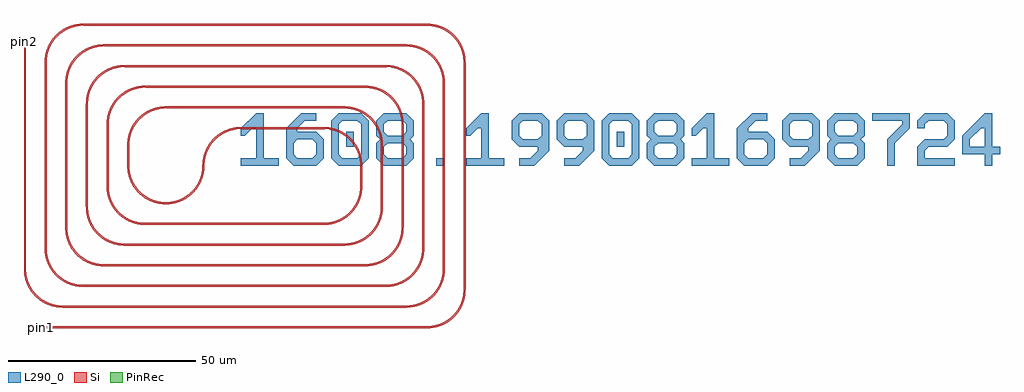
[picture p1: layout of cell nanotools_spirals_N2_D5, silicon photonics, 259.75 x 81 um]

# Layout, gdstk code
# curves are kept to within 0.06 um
import gdstk
lib = gdstk.Library(unit=1e-6, precision=1e-09)
def R(c, l, rs):  # rectangles x0, y0, x1, y1
    for r in rs: c.add(gdstk.rectangle(r[:2], r[2:], *l))
def P(c, l, *ps):  # polygons
    for p in ps: c.add(gdstk.Polygon(p, *l))
Si = (1, 0)
PinRec = (1, 10)
L290_0 = (290, 0)

nanotools_spirals_n2_d5 = lib.new_cell('nanotools_spirals_N2_D5')
R(nanotools_spirals_n2_d5, Si, [(-53,-43.25,49.5,-42.75), (-47.5,-37.75,44,-37.25), (59.25,-33,59.75,27.5), (-42,-32.25,38.5,-31.75), (-57.75,-27.5,-57.25,33), (53.75,-27.5,54.25,22), (-36.5,-26.75,33,-26.25), (-52.25,-22,-51.75,27.5), (48.25,-22,48.75,16.5), (-31,-21.25,27.5,-20.75), (-46.75,-16.5,-46.25,22), (42.75,-16.5,43.25,11), (-25.5,-15.75,22,-15.25), (-41.25,-11,-40.75,16.5), (37.25,-11,37.75,5.5), (-35.75,-5.5,-35.25,11), (31.75,-5.5,32.25,0), (-30.25,0,-29.75,5.5), (0,9.75,22,10.25), (-20,15.25,27.5,15.75), (-25.5,20.75,33,21.25), (-31,26.25,38.5,26.75), (-36.5,31.75,44,32.25), (-42,37.25,49.5,37.75)])
P(nanotools_spirals_n2_d5, Si, [(-10.25,0),(-10.056,1.984),(-9.482,3.894),(-8.548,5.656),(-7.292,7.204),(-6.557,7.879),(-5.759,8.479),(-4.009,9.434),(-3.072,9.779),(-2.107,10.031),(-1.121,10.189),(0,10.25),(0,9.75),(-1.066,9.692),(-2.12,9.517),(-3.148,9.228),(-4.246,8.777),(-5.673,7.93),(-6.852,6.936),(-7.93,5.673),(-8.777,4.246),(-9.228,3.148),(-9.517,2.12),(-9.692,1.066),(-9.75,0)],
  [(-20,-10.25),(-20,-9.75),(-18.934,-9.692),(-17.88,-9.517),(-16.852,-9.228),(-15.754,-8.777),(-14.327,-7.93),(-13.148,-6.936),(-12.07,-5.673),(-11.223,-4.246),(-10.772,-3.148),(-10.483,-2.12),(-10.308,-1.066),(-10.25,0),(-9.75,0),(-9.944,-1.984),(-10.518,-3.894),(-11.452,-5.656),(-12.708,-7.204),(-13.443,-7.879),(-14.241,-8.479),(-15.991,-9.434),(-16.928,-9.779),(-17.893,-10.031),(-18.879,-10.189)],
  [(22,-15.75),(22,-15.25),(23.066,-15.192),(24.12,-15.017),(25.148,-14.728),(26.246,-14.277),(27.673,-13.43),(28.852,-12.436),(29.93,-11.173),(30.777,-9.746),(31.228,-8.648),(31.517,-7.62),(31.692,-6.566),(31.75,-5.5),(32.25,-5.5),(32.056,-7.484),(31.482,-9.394),(30.548,-11.156),(29.292,-12.704),(28.557,-13.379),(27.759,-13.979),(26.009,-14.934),(25.072,-15.279),(24.107,-15.531),(23.121,-15.689)],
  [(27.5,-21.25),(27.5,-20.75),(28.566,-20.692),(29.62,-20.517),(30.648,-20.228),(31.746,-19.777),(33.173,-18.93),(34.352,-17.936),(35.43,-16.673),(36.277,-15.246),(36.728,-14.148),(37.017,-13.12),(37.192,-12.066),(37.25,-11),(37.75,-11),(37.556,-12.984),(36.982,-14.894),(36.048,-16.656),(34.792,-18.204),(34.057,-18.879),(33.259,-19.479),(31.509,-20.434),(30.572,-20.779),(29.607,-21.031),(28.621,-21.189)],
  [(33,-26.75),(33,-26.25),(34.066,-26.192),(35.12,-26.017),(36.148,-25.728),(37.246,-25.277),(38.673,-24.43),(39.852,-23.436),(40.93,-22.173),(41.777,-20.746),(42.228,-19.648),(42.517,-18.62),(42.692,-17.566),(42.75,-16.5),(43.25,-16.5),(43.056,-18.484),(42.482,-20.394),(41.548,-22.156),(40.292,-23.704),(39.557,-24.379),(38.759,-24.979),(37.009,-25.934),(36.072,-26.279),(35.107,-26.531),(34.121,-26.689)],
  [(38.5,-32.25),(38.5,-31.75),(39.566,-31.692),(40.62,-31.517),(41.648,-31.228),(42.746,-30.777),(44.173,-29.93),(45.352,-28.936),(46.43,-27.673),(47.277,-26.246),(47.728,-25.148),(48.017,-24.12),(48.192,-23.066),(48.25,-22),(48.75,-22),(48.556,-23.984),(47.982,-25.894),(47.048,-27.656),(45.792,-29.204),(45.057,-29.879),(44.259,-30.479),(42.509,-31.434),(41.572,-31.779),(40.607,-32.031),(39.621,-32.189)],
  [(44,-37.75),(44,-37.25),(45.066,-37.192),(46.12,-37.017),(47.148,-36.728),(48.246,-36.277),(49.673,-35.43),(50.852,-34.436),(51.93,-33.173),(52.777,-31.746),(53.228,-30.648),(53.517,-29.62),(53.692,-28.566),(53.75,-27.5),(54.25,-27.5),(54.056,-29.484),(53.482,-31.394),(52.548,-33.156),(51.292,-34.704),(50.557,-35.379),(49.759,-35.979),(48.009,-36.934),(47.072,-37.279),(46.107,-37.531),(45.121,-37.689)],
  [(49.5,-43.25),(49.5,-42.75),(50.566,-42.692),(51.62,-42.517),(52.648,-42.228),(53.746,-41.777),(55.173,-40.93),(56.352,-39.936),(57.43,-38.673),(58.277,-37.246),(58.728,-36.148),(59.017,-35.12),(59.192,-34.066),(59.25,-33),(59.75,-33),(59.556,-34.984),(58.982,-36.894),(58.048,-38.656),(56.792,-40.204),(56.057,-40.879),(55.259,-41.479),(53.509,-42.434),(52.572,-42.779),(51.607,-43.031),(50.621,-43.189)],
  [(31.75,0),(31.566,1.888),(31.064,3.594),(30.26,5.18),(29.101,6.681),(27.865,7.789),(26.352,8.725),(25.26,9.189),(24.236,9.49),(23.066,9.692),(22,9.75),(22,10.25),(23.121,10.189),(24.107,10.031),(25.072,9.779),(26.009,9.434),(27.017,8.939),(27.862,8.408),(28.747,7.717),(29.465,7.024),(30.189,6.165),(30.814,5.233),(31.333,4.237),(31.741,3.191),(32.122,1.616),(32.25,0)],
  [(37.25,5.5),(37.066,7.388),(36.564,9.094),(35.76,10.68),(34.601,12.181),(33.365,13.289),(31.852,14.225),(30.76,14.689),(29.736,14.99),(28.566,15.192),(27.5,15.25),(27.5,15.75),(28.621,15.689),(29.607,15.531),(30.572,15.279),(31.509,14.934),(32.517,14.439),(33.362,13.908),(34.247,13.217),(34.965,12.524),(35.689,11.665),(36.314,10.733),(36.833,9.737),(37.241,8.691),(37.622,7.116),(37.75,5.5)],
  [(42.75,11),(42.566,12.888),(42.064,14.594),(41.26,16.18),(40.101,17.681),(38.865,18.789),(37.352,19.725),(36.26,20.189),(35.236,20.49),(34.066,20.692),(33,20.75),(33,21.25),(34.121,21.189),(35.107,21.031),(36.072,20.779),(37.009,20.434),(38.017,19.939),(38.862,19.408),(39.747,18.717),(40.465,18.024),(41.189,17.165),(41.814,16.233),(42.333,15.237),(42.741,14.191),(43.122,12.616),(43.25,11)],
  [(48.25,16.5),(48.066,18.388),(47.564,20.094),(46.76,21.68),(45.601,23.181),(44.365,24.289),(42.852,25.225),(41.76,25.689),(40.736,25.99),(39.566,26.192),(38.5,26.25),(38.5,26.75),(39.621,26.689),(40.607,26.531),(41.572,26.279),(42.509,25.934),(43.517,25.439),(44.362,24.908),(45.247,24.217),(45.965,23.524),(46.689,22.665),(47.314,21.733),(47.833,20.737),(48.241,19.691),(48.622,18.116),(48.75,16.5)],
  [(53.75,22),(53.566,23.888),(53.064,25.594),(52.26,27.18),(51.101,28.681),(49.865,29.789),(48.352,30.725),(47.26,31.189),(46.236,31.49),(45.066,31.692),(44,31.75),(44,32.25),(45.121,32.189),(46.107,32.031),(47.072,31.779),(48.009,31.434),(49.017,30.939),(49.862,30.408),(50.747,29.717),(51.465,29.024),(52.189,28.165),(52.814,27.233),(53.333,26.237),(53.741,25.191),(54.122,23.616),(54.25,22)],
  [(59.25,27.5),(59.066,29.388),(58.564,31.094),(57.76,32.68),(56.601,34.181),(55.365,35.289),(53.852,36.225),(52.76,36.689),(51.736,36.99),(50.566,37.192),(49.5,37.25),(49.5,37.75),(50.621,37.689),(51.607,37.531),(52.572,37.279),(53.509,36.934),(54.517,36.439),(55.362,35.908),(56.247,35.217),(56.965,34.524),(57.689,33.665),(58.314,32.733),(58.833,31.737),(59.241,30.691),(59.622,29.116),(59.75,27.5)],
  [(-30.25,5.5),(-30.056,7.484),(-29.482,9.394),(-28.548,11.156),(-27.292,12.704),(-26.557,13.379),(-25.759,13.979),(-24.009,14.934),(-23.072,15.279),(-22.107,15.531),(-21.121,15.689),(-20,15.75),(-20,15.25),(-21.066,15.192),(-22.12,15.017),(-23.148,14.728),(-24.246,14.277),(-25.673,13.43),(-26.852,12.436),(-27.93,11.173),(-28.777,9.746),(-29.228,8.648),(-29.517,7.62),(-29.692,6.566),(-29.75,5.5)],
  [(-35.75,11),(-35.556,12.984),(-34.982,14.894),(-34.048,16.656),(-32.792,18.204),(-32.057,18.879),(-31.259,19.479),(-29.509,20.434),(-28.572,20.779),(-27.607,21.031),(-26.621,21.189),(-25.5,21.25),(-25.5,20.75),(-26.566,20.692),(-27.62,20.517),(-28.648,20.228),(-29.746,19.777),(-31.173,18.93),(-32.352,17.936),(-33.43,16.673),(-34.277,15.246),(-34.728,14.148),(-35.017,13.12),(-35.192,12.066),(-35.25,11)],
  [(-41.25,16.5),(-41.056,18.484),(-40.482,20.394),(-39.548,22.156),(-38.292,23.704),(-37.557,24.379),(-36.759,24.979),(-35.009,25.934),(-34.072,26.279),(-33.107,26.531),(-32.121,26.689),(-31,26.75),(-31,26.25),(-32.066,26.192),(-33.12,26.017),(-34.148,25.728),(-35.246,25.277),(-36.673,24.43),(-37.852,23.436),(-38.93,22.173),(-39.777,20.746),(-40.228,19.648),(-40.517,18.62),(-40.692,17.566),(-40.75,16.5)],
  [(-46.75,22),(-46.556,23.984),(-45.982,25.894),(-45.048,27.656),(-43.792,29.204),(-43.057,29.879),(-42.259,30.479),(-40.509,31.434),(-39.572,31.779),(-38.607,32.031),(-37.621,32.189),(-36.5,32.25),(-36.5,31.75),(-37.566,31.692),(-38.62,31.517),(-39.648,31.228),(-40.746,30.777),(-42.173,29.93),(-43.352,28.936),(-44.43,27.673),(-45.277,26.246),(-45.728,25.148),(-46.017,24.12),(-46.192,23.066),(-46.25,22)],
  [(-52.25,27.5),(-52.056,29.484),(-51.482,31.394),(-50.548,33.156),(-49.292,34.704),(-48.557,35.379),(-47.759,35.979),(-46.009,36.934),(-45.072,37.279),(-44.107,37.531),(-43.121,37.689),(-42,37.75),(-42,37.25),(-43.066,37.192),(-44.12,37.017),(-45.148,36.728),(-46.246,36.277),(-47.673,35.43),(-48.852,34.436),(-49.93,33.173),(-50.777,31.746),(-51.228,30.648),(-51.517,29.62),(-51.692,28.566),(-51.75,27.5)],
  [(-20,-10.25),(-21.984,-10.056),(-23.894,-9.482),(-25.656,-8.548),(-27.204,-7.292),(-27.879,-6.557),(-28.479,-5.759),(-29.434,-4.009),(-29.779,-3.072),(-30.031,-2.107),(-30.189,-1.121),(-30.25,0),(-29.75,0),(-29.692,-1.066),(-29.517,-2.12),(-29.228,-3.148),(-28.777,-4.246),(-27.93,-5.673),(-26.936,-6.852),(-25.673,-7.93),(-24.246,-8.777),(-23.148,-9.228),(-22.12,-9.517),(-21.066,-9.692),(-20,-9.75)],
  [(-25.5,-15.75),(-27.484,-15.556),(-29.394,-14.982),(-31.156,-14.048),(-32.704,-12.792),(-33.379,-12.057),(-33.979,-11.259),(-34.934,-9.509),(-35.279,-8.572),(-35.531,-7.607),(-35.689,-6.621),(-35.75,-5.5),(-35.25,-5.5),(-35.192,-6.566),(-35.017,-7.62),(-34.728,-8.648),(-34.277,-9.746),(-33.43,-11.173),(-32.436,-12.352),(-31.173,-13.43),(-29.746,-14.277),(-28.648,-14.728),(-27.62,-15.017),(-26.566,-15.192),(-25.5,-15.25)],
  [(-31,-21.25),(-32.984,-21.056),(-34.894,-20.482),(-36.656,-19.548),(-38.204,-18.292),(-38.879,-17.557),(-39.479,-16.759),(-40.434,-15.009),(-40.779,-14.072),(-41.031,-13.107),(-41.189,-12.121),(-41.25,-11),(-40.75,-11),(-40.692,-12.066),(-40.517,-13.12),(-40.228,-14.148),(-39.777,-15.246),(-38.93,-16.673),(-37.936,-17.852),(-36.673,-18.93),(-35.246,-19.777),(-34.148,-20.228),(-33.12,-20.517),(-32.066,-20.692),(-31,-20.75)],
  [(-36.5,-26.75),(-38.484,-26.556),(-40.394,-25.982),(-42.156,-25.048),(-43.704,-23.792),(-44.379,-23.057),(-44.979,-22.259),(-45.934,-20.509),(-46.279,-19.572),(-46.531,-18.607),(-46.689,-17.621),(-46.75,-16.5),(-46.25,-16.5),(-46.192,-17.566),(-46.017,-18.62),(-45.728,-19.648),(-45.277,-20.746),(-44.43,-22.173),(-43.436,-23.352),(-42.173,-24.43),(-40.746,-25.277),(-39.648,-25.728),(-38.62,-26.017),(-37.566,-26.192),(-36.5,-26.25)],
  [(-42,-32.25),(-43.984,-32.056),(-45.894,-31.482),(-47.656,-30.548),(-49.204,-29.292),(-49.879,-28.557),(-50.479,-27.759),(-51.434,-26.009),(-51.779,-25.072),(-52.031,-24.107),(-52.189,-23.121),(-52.25,-22),(-51.75,-22),(-51.692,-23.066),(-51.517,-24.12),(-51.228,-25.148),(-50.777,-26.246),(-49.93,-27.673),(-48.936,-28.852),(-47.673,-29.93),(-46.246,-30.777),(-45.148,-31.228),(-44.12,-31.517),(-43.066,-31.692),(-42,-31.75)],
  [(-47.5,-37.75),(-49.484,-37.556),(-51.394,-36.982),(-53.156,-36.048),(-54.704,-34.792),(-55.379,-34.057),(-55.979,-33.259),(-56.934,-31.509),(-57.279,-30.572),(-57.531,-29.607),(-57.689,-28.621),(-57.75,-27.5),(-57.25,-27.5),(-57.192,-28.566),(-57.017,-29.62),(-56.728,-30.648),(-56.277,-31.746),(-55.43,-33.173),(-54.436,-34.352),(-53.173,-35.43),(-51.746,-36.277),(-50.648,-36.728),(-49.62,-37.017),(-48.566,-37.192),(-47.5,-37.25)])
R(nanotools_spirals_n2_d5, L290_0, [(52,0,54,2), (28,5,30,9), (100,5,102,9)])
P(nanotools_spirals_n2_d5, L290_0, [(0,0),(0,2),(4,2),(4,10),(3,10),(1,8),(0,8),(0,10),(4,14),(6,14),(6,2),(10,2),(10,0)],
  [(14,0),(12,2),(12,10),(16,14),(20,14),(20,12),(17,12),(15,10),(15,9),(20,9),(22,7),(15,7),(14,6),(14,3),(15,2),(19,2),(20,3),(20,6),(19,7),(22,7),(22,2),(20,0)],
  [(26,0),(24,2),(24,12),(26,14),(32,14),(34,12),(27,12),(26,11),(26,3),(27,2),(31,2),(32,3),(32,11),(31,12),(34,12),(34,2),(32,0)],
  [(38,0),(36,2),(36,6),(37,7),(36,8),(36,12),(38,14),(44,14),(46,12),(39,12),(38,11),(38,9),(39,8),(43,8),(44,9),(44,11),(43,12),(46,12),(46,8),(45,7),(46,6),(39,6),(38,5),(38,3),(39,2),(43,2),(44,3),(44,5),(43,6),(46,6),(46,2),(44,0)],
  [(60,0),(60,2),(64,2),(64,10),(63,10),(61,8),(60,8),(60,10),(64,14),(66,14),(66,2),(70,2),(70,0)],
  [(74,0),(74,2),(77,2),(79,4),(79,5),(74,5),(72,7),(79,7),(80,8),(80,11),(79,12),(75,12),(74,11),(74,8),(75,7),(72,7),(72,12),(74,14),(80,14),(82,12),(82,4),(78,0)],
  [(86,0),(86,2),(89,2),(91,4),(91,5),(86,5),(84,7),(91,7),(92,8),(92,11),(91,12),(87,12),(86,11),(86,8),(87,7),(84,7),(84,12),(86,14),(92,14),(94,12),(94,4),(90,0)],
  [(98,0),(96,2),(96,12),(98,14),(104,14),(106,12),(99,12),(98,11),(98,3),(99,2),(103,2),(104,3),(104,11),(103,12),(106,12),(106,2),(104,0)],
  [(110,0),(108,2),(108,6),(109,7),(108,8),(108,12),(110,14),(116,14),(118,12),(111,12),(110,11),(110,9),(111,8),(115,8),(116,9),(116,11),(115,12),(118,12),(118,8),(117,7),(118,6),(111,6),(110,5),(110,3),(111,2),(115,2),(116,3),(116,5),(115,6),(118,6),(118,2),(116,0)],
  [(120,0),(120,2),(124,2),(124,10),(123,10),(121,8),(120,8),(120,10),(124,14),(126,14),(126,2),(130,2),(130,0)],
  [(134,0),(132,2),(132,10),(136,14),(140,14),(140,12),(137,12),(135,10),(135,9),(140,9),(142,7),(135,7),(134,6),(134,3),(135,2),(139,2),(140,3),(140,6),(139,7),(142,7),(142,2),(140,0)],
  [(146,0),(146,2),(149,2),(151,4),(151,5),(146,5),(144,7),(151,7),(152,8),(152,11),(151,12),(147,12),(146,11),(146,8),(147,7),(144,7),(144,12),(146,14),(152,14),(154,12),(154,4),(150,0)],
  [(158,0),(156,2),(156,6),(157,7),(156,8),(156,12),(158,14),(164,14),(166,12),(159,12),(158,11),(158,9),(159,8),(163,8),(164,9),(164,11),(163,12),(166,12),(166,8),(165,7),(166,6),(159,6),(158,5),(158,3),(159,2),(163,2),(164,3),(164,5),(163,6),(166,6),(166,2),(164,0)],
  [(172,0),(172,7),(176,11),(176,12),(168,12),(168,14),(178,14),(178,10),(174,6),(174,0)],
  [(180,0),(180,5),(182,7),(187,7),(188,8),(188,11),(187,12),(183,12),(182,11),(182,10),(180,10),(180,12),(182,14),(188,14),(190,12),(190,7),(188,5),(183,5),(182,4),(182,2),(190,2),(190,0)],
  [(198,0),(198,3),(192,3),(192,5),(198,5),(198,10),(197,10),(194,7),(194,5),(192,5),(192,8),(198,14),(200,14),(200,5),(202,5),(202,3),(200,3),(200,0)])
nanotools_spirals_n2_d5.add(gdstk.FlexPath([(-52.95,-43),(-53.05,-43)], 0.5, ends="flush", simple_path=True, layer=1, datatype=10))  # PinRec
nanotools_spirals_n2_d5.add(gdstk.FlexPath([(-57.5,32.95),(-57.5,33.05)], 0.5, ends="flush", simple_path=True, layer=1, datatype=10))  # PinRec
nanotools_spirals_n2_d5.add(gdstk.Label('pin1', (-53,-43), layer=1, texttype=10))
nanotools_spirals_n2_d5.add(gdstk.Label('pin2', (-57.5,33), layer=1, texttype=10))

lib.write_gds('nanotools_spirals_N2_D5.gds')
